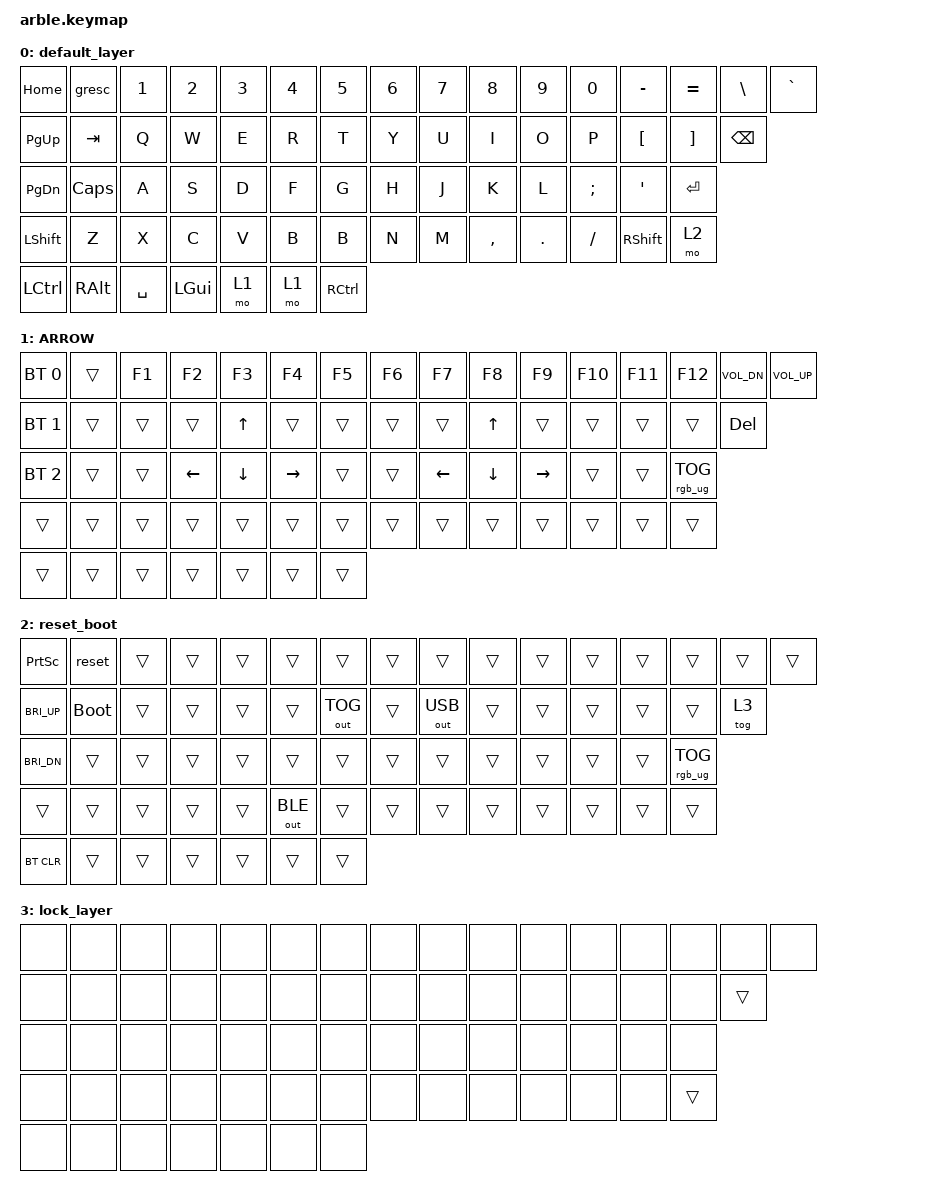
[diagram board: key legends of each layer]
/*
 * Copyright (c) 2021 Nick Winans
 *
 * SPDX-License-Identifier: MIT
 */

#include <behaviors.dtsi>
#include <dt-bindings/zmk/bt.h>
#include <dt-bindings/zmk/keys.h>
#include <dt-bindings/zmk/outputs.h>
#include <dt-bindings/zmk/rgb.h>

/ {
    keymap {
        compatible = "zmk,keymap";

        default_layer {
            bindings = <
   &kp HOME        &gresc     &kp N1    &kp N2  &kp N3  &kp N4     &kp N5  &kp N6  &kp N7     &kp N8   &kp N9    &kp N0  &kp MINUS  &kp EQUAL  &kp BSLH  &kp GRAVE
&kp PAGE_UP       &kp TAB      &kp Q     &kp W   &kp E   &kp R      &kp T   &kp Y   &kp U      &kp I    &kp O     &kp P   &kp LBKT   &kp RBKT  &kp BSPC
  &kp PG_DN  &kp CAPSLOCK      &kp A     &kp S   &kp D   &kp F      &kp G   &kp H   &kp J      &kp K    &kp L  &kp SEMI    &kp SQT    &kp RET
  &kp LSHFT         &kp Z      &kp X     &kp C   &kp V   &kp B      &kp B   &kp N   &kp M  &kp COMMA  &kp DOT  &kp FSLH  &kp RSHFT      &mo 2
  &kp LCTRL      &kp RALT  &kp SPACE  &kp LGUI   &mo 1   &mo 1  &kp RCTRL
            >;
        };

        ARROW {
            bindings = <
&bt BT_SEL 0  &trans  &kp F1    &kp F2    &kp F3     &kp F4  &kp F5  &kp F6    &kp F7    &kp F8     &kp F9  &kp F10  &kp F11          &kp F12  &kp K_VOL_DN  &kp K_VOL_UP
&bt BT_SEL 1  &trans  &trans    &trans    &kp UP     &trans  &trans  &trans    &trans    &kp UP     &trans   &trans   &trans           &trans       &kp DEL
&bt BT_SEL 2  &trans  &trans  &kp LEFT  &kp DOWN  &kp RIGHT  &trans  &trans  &kp LEFT  &kp DOWN  &kp RIGHT   &trans   &trans  &rgb_ug RGB_TOG
      &trans  &trans  &trans    &trans    &trans     &trans  &trans  &trans    &trans    &trans     &trans   &trans   &trans           &trans
      &trans  &trans  &trans    &trans    &trans     &trans  &trans
            >;
        };

        reset_boot {
            bindings = <
   &kp PSCRN       &reset  &trans  &trans  &trans        &trans        &trans  &trans        &trans  &trans  &trans  &trans  &trans           &trans  &trans  &trans
&kp C_BRI_UP  &bootloader  &trans  &trans  &trans        &trans  &out OUT_TOG  &trans  &out OUT_USB  &trans  &trans  &trans  &trans           &trans  &tog 3
&kp C_BRI_DN       &trans  &trans  &trans  &trans        &trans        &trans  &trans        &trans  &trans  &trans  &trans  &trans  &rgb_ug RGB_TOG
      &trans       &trans  &trans  &trans  &trans  &out OUT_BLE        &trans  &trans        &trans  &trans  &trans  &trans  &trans           &trans
  &bt BT_CLR       &trans  &trans  &trans  &trans        &trans        &trans
            >;
        };

        lock_layer {
            bindings = <
&none  &none  &none  &none  &none  &none  &none  &none  &none  &none  &none  &none  &none   &none   &none  &none
&none  &none  &none  &none  &none  &none  &none  &none  &none  &none  &none  &none  &none   &none  &trans
&none  &none  &none  &none  &none  &none  &none  &none  &none  &none  &none  &none  &none   &none
&none  &none  &none  &none  &none  &none  &none  &none  &none  &none  &none  &none  &none  &trans
&none  &none  &none  &none  &none  &none  &none
            >;
        };
    };
};
